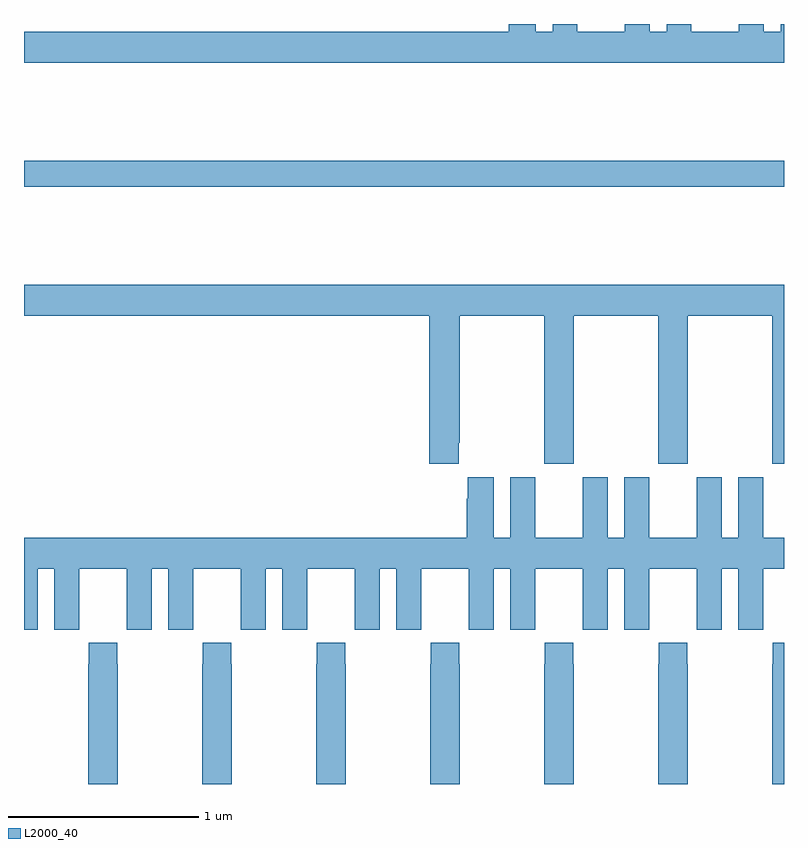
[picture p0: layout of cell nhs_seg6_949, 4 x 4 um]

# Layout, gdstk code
import gdstk
lib = gdstk.Library(unit=1e-6, precision=1e-09)
def R(c, l, rs):  # rectangles x0, y0, x1, y1
    for r in rs: c.add(gdstk.rectangle(r[:2], r[2:], *l))
def P(c, l, *ps):  # polygons
    for p in ps: c.add(gdstk.Polygon(p, *l))
L2000_40 = (2000, 40)

nhs_seg6_949 = lib.new_cell('nhs_seg6_949')
R(nhs_seg6_949, L2000_40, [(169,986.644,173,986.78)])
P(nhs_seg6_949, L2000_40, [(173,987.5),(172.982,987.5),(172.982,987.46),(172.894,987.46),(172.894,987.5),(172.763,987.5),(172.763,987.46),(172.513,987.46),(172.513,987.5),(172.382,987.5),(172.382,987.46),(172.294,987.46),(172.294,987.5),(172.163,987.5),(172.163,987.46),(171.913,987.46),(171.913,987.5),(171.782,987.5),(171.782,987.46),(171.694,987.46),(171.694,987.5),(171.551,987.5),(171.551,987.46),(169,987.46),(169,987.296),(173,987.296)],
  [(171.289,985.297),(171.294,985.297),(171.294,985.964),(171.739,985.964),(171.739,985.185),(171.894,985.185),(171.894,985.964),(172.339,985.964),(172.339,985.185),(172.494,985.185),(172.494,985.964),(172.939,985.964),(172.939,985.185),(173,985.185),(173,986.128),(169,986.128),(169,985.964),(171.134,985.964),(171.134,985.185),(171.289,985.185)],
  [(171.335,985.114),(171.335,985.001),(171.329,985.001),(171.329,984.796),(169,984.796),(169,984.312),(169.072,984.312),(169.072,984.632),(169.16,984.632),(169.16,984.312),(169.29,984.312),(169.29,984.424),(169.291,984.424),(169.291,984.632),(169.541,984.632),(169.541,984.424),(169.542,984.424),(169.542,984.312),(169.672,984.312),(169.672,984.632),(169.76,984.632),(169.76,984.312),(169.89,984.312),(169.89,984.424),(169.891,984.424),(169.891,984.632),(170.141,984.632),(170.141,984.424),(170.142,984.424),(170.142,984.312),(170.272,984.312),(170.272,984.632),(170.36,984.632),(170.36,984.312),(170.49,984.312),(170.49,984.424),(170.491,984.424),(170.491,984.632),(170.741,984.632),(170.741,984.424),(170.742,984.424),(170.742,984.312),(170.872,984.312),(170.872,984.632),(170.96,984.632),(170.96,984.312),(171.09,984.312),(171.09,984.424),(171.091,984.424),(171.091,984.632),(171.341,984.632),(171.341,984.424),(171.342,984.424),(171.342,984.312),(171.472,984.312),(171.472,984.632),(171.56,984.632),(171.56,984.312),(171.69,984.312),(171.69,984.424),(171.691,984.424),(171.691,984.632),(171.941,984.632),(171.941,984.424),(171.942,984.424),(171.942,984.312),(172.072,984.312),(172.072,984.632),(172.16,984.632),(172.16,984.312),(172.29,984.312),(172.29,984.424),(172.291,984.424),(172.291,984.632),(172.541,984.632),(172.541,984.424),(172.542,984.424),(172.542,984.312),(172.672,984.312),(172.672,984.632),(172.76,984.632),(172.76,984.312),(172.89,984.312),(172.89,984.424),(172.891,984.424),(172.891,984.632),(173,984.632),(173,984.796),(172.891,984.796),(172.891,985.114),(172.76,985.114),(172.76,984.796),(172.672,984.796),(172.672,985.114),(172.541,985.114),(172.541,984.796),(172.291,984.796),(172.291,985.114),(172.16,985.114),(172.16,984.796),(172.072,984.796),(172.072,985.114),(171.941,985.114),(171.941,984.796),(171.691,984.796),(171.691,985.114),(171.56,985.114),(171.56,984.796),(171.472,984.796),(171.472,985.114)],
  [(170.694,984.131),(170.691,984.131),(170.691,984.244),(170.541,984.244),(170.541,984.131),(170.539,984.131),(170.539,983.5),(170.694,983.5)],
  [(173,984.244),(172.941,984.244),(172.941,984.131),(172.939,984.131),(172.939,983.5),(173,983.5)],
  [(169.494,984.131),(169.491,984.131),(169.491,984.244),(169.341,984.244),(169.341,984.131),(169.339,984.131),(169.339,983.5),(169.494,983.5)],
  [(170.094,984.131),(170.091,984.131),(170.091,984.244),(169.941,984.244),(169.941,984.131),(169.939,984.131),(169.939,983.5),(170.094,983.5)],
  [(171.294,984.131),(171.291,984.131),(171.291,984.244),(171.141,984.244),(171.141,984.131),(171.139,984.131),(171.139,983.5),(171.294,983.5)],
  [(171.894,984.131),(171.891,984.131),(171.891,984.244),(171.741,984.244),(171.741,984.131),(171.739,984.131),(171.739,983.5),(171.894,983.5)],
  [(172.494,984.131),(172.491,984.131),(172.491,984.244),(172.341,984.244),(172.341,984.131),(172.339,984.131),(172.339,983.5),(172.494,983.5)])

lib.write_gds('nhs_seg6_949.gds')
